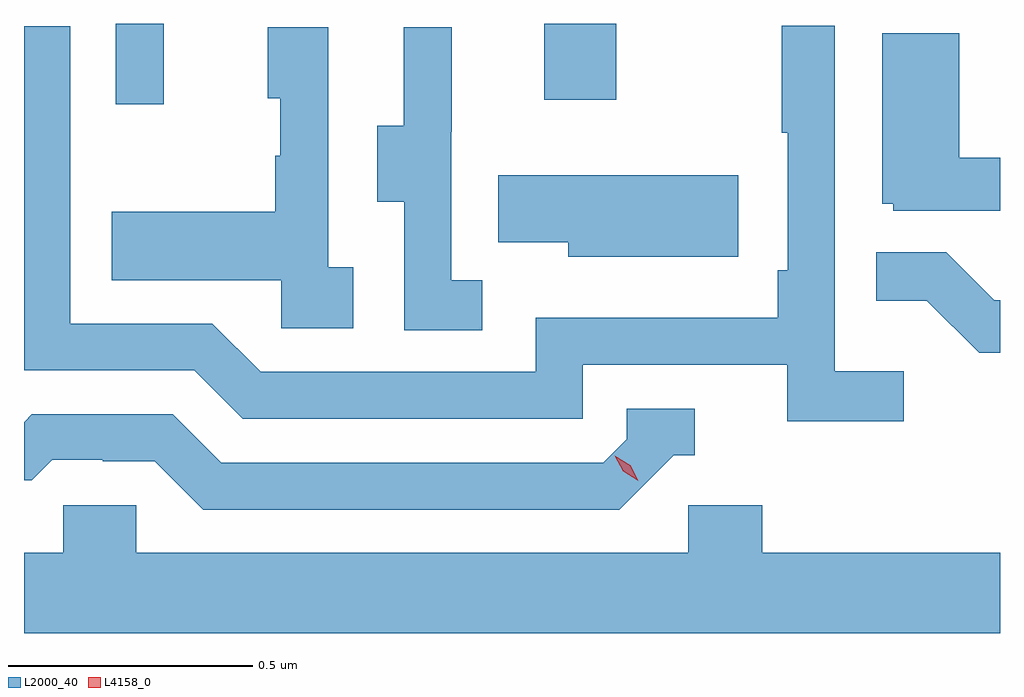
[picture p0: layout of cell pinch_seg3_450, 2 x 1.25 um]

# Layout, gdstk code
import gdstk
lib = gdstk.Library(unit=1e-6, precision=1e-09)
def R(c, l, rs):  # rectangles x0, y0, x1, y1
    for r in rs: c.add(gdstk.rectangle(r[:2], r[2:], *l))
def P(c, l, *ps):  # polygons
    for p in ps: c.add(gdstk.Polygon(p, *l))
L2000_40 = (2000, 40)
L4158_0 = (4158, 0)

pinch_seg3_450 = lib.new_cell('pinch_seg3_450')
R(pinch_seg3_450, L2000_40, [(924.567,680.688,924.665,680.852), (925.445,680.697,925.593,680.852)])
P(pinch_seg3_450, L2000_40, [(926.182,680.14),(926.04,680.14),(926.04,680.848),(925.932,680.848),(925.932,680.629),(925.944,680.629),(925.944,680.347),(925.924,680.347),(925.924,680.25),(925.428,680.25),(925.428,680.139),(924.864,680.139),(924.765,680.238),(924.474,680.238),(924.474,680.847),(924.379,680.847),(924.379,680.142),(924.728,680.142),(924.827,680.043),(925.524,680.043),(925.524,680.154),(925.943,680.154),(925.943,680.038),(926.182,680.038)],
  [(925.054,680.354),(925.002,680.354),(925.002,680.845),(924.878,680.845),(924.878,680.7),(924.904,680.7),(924.904,680.582),(924.894,680.582),(924.894,680.467),(924.559,680.467),(924.559,680.327),(924.906,680.327),(924.906,680.229),(925.054,680.229)],
  [(925.318,680.327),(925.254,680.327),(925.254,680.631),(925.256,680.631),(925.256,680.845),(925.157,680.845),(925.157,680.643),(925.103,680.643),(925.103,680.488),(925.158,680.488),(925.158,680.224),(925.318,680.224)],
  [(926.379,680.578),(926.296,680.578),(926.296,680.833),(926.138,680.833),(926.138,680.484),(926.16,680.484),(926.16,680.469),(926.379,680.469)],
  [(925.843,680.542),(925.351,680.542),(925.351,680.405),(925.494,680.405),(925.494,680.375),(925.843,680.375)],
  [(926.379,680.286),(926.367,680.286),(926.269,680.384),(926.125,680.384),(926.125,680.285),(926.229,680.285),(926.336,680.178),(926.379,680.178)],
  [(925.71,679.968),(925.753,679.968),(925.753,680.064),(925.614,680.064),(925.614,680.001),(925.566,679.953),(924.783,679.953),(924.684,680.052),(924.395,680.052),(924.379,680.036),(924.379,679.917),(924.395,679.917),(924.437,679.959),(924.54,679.959),(924.54,679.956),(924.647,679.956),(924.746,679.857),(925.599,679.857)],
  [(926.379,679.768),(925.892,679.768),(925.892,679.866),(925.74,679.866),(925.74,679.768),(924.609,679.768),(924.609,679.866),(924.459,679.866),(924.459,679.768),(924.379,679.768),(924.379,679.604),(926.379,679.604)])
P(pinch_seg3_450, L4158_0, [(925.638,679.916),(925.607,679.935),(925.59,679.967),(925.59,679.967),(925.59,679.967),(925.621,679.948),(925.638,679.916),(925.638,679.916)])

lib.write_gds('pinch_seg3_450.gds')
